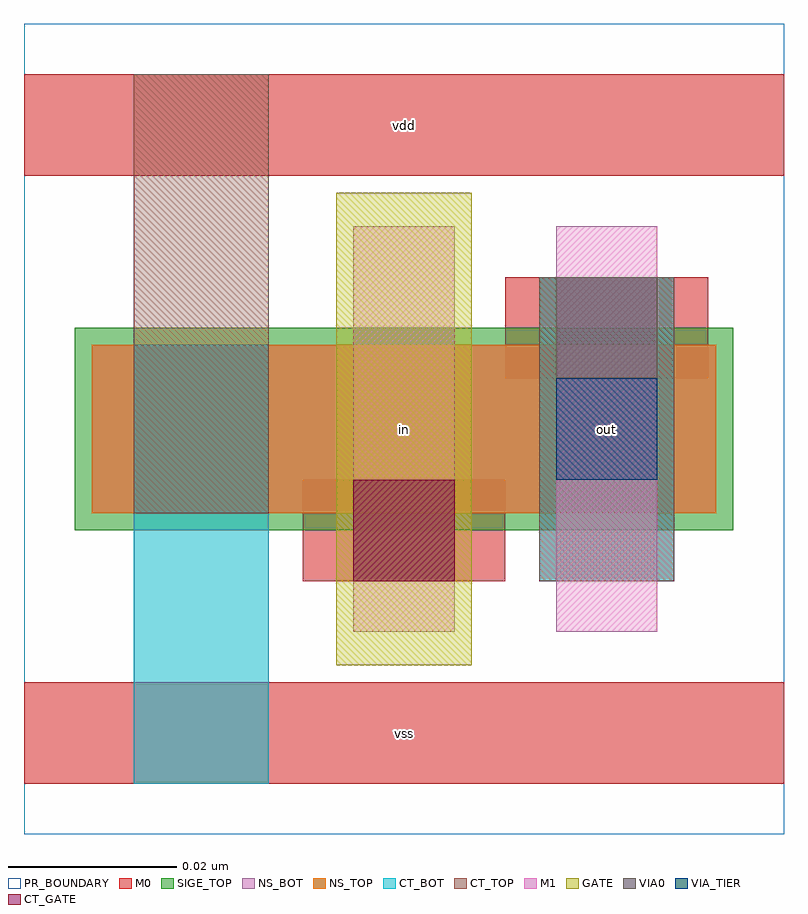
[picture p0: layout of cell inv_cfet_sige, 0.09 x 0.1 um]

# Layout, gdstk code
import gdstk
lib = gdstk.Library(unit=1e-6, precision=1e-09)
def R(c, l, rs):  # rectangles x0, y0, x1, y1
    for r in rs: c.add(gdstk.rectangle(r[:2], r[2:], *l))
PR_BOUNDARY = (1, 0)
NS_BOT = (10, 0)
NS_TOP = (11, 0)
GATE = (20, 0)
CT_GATE = (21, 0)
CT_BOT = (30, 0)
CT_TOP = (31, 0)
VIA_TIER = (35, 0)
M0 = (40, 0)
VIA0 = (41, 0)
M1 = (42, 0)
SIGE_TOP = (50, 0)

inv_cfet_sige = lib.new_cell('inv_cfet_sige')
R(inv_cfet_sige, PR_BOUNDARY, [(0,0,0.09,0.096)])
R(inv_cfet_sige, NS_BOT, [(0.008,0.038,0.082,0.058)])
R(inv_cfet_sige, NS_TOP, [(0.008,0.038,0.082,0.058)])
R(inv_cfet_sige, GATE, [(0.037,0.02,0.053,0.076)])
R(inv_cfet_sige, CT_GATE, [(0.039,0.03,0.051,0.042)])
R(inv_cfet_sige, CT_BOT, [(0.013,0.006,0.029,0.058), (0.061,0.03,0.077,0.066)])
R(inv_cfet_sige, CT_TOP, [(0.061,0.03,0.077,0.066), (0.013,0.038,0.029,0.09)])
R(inv_cfet_sige, VIA_TIER, [(0.063,0.042,0.075,0.054)])
R(inv_cfet_sige, M0, [(0,0.006,0.09,0.018), (0.033,0.03,0.057,0.042), (0.057,0.054,0.081,0.066), (0,0.078,0.09,0.09)])
R(inv_cfet_sige, VIA0, [(0.039,0.03,0.051,0.042), (0.063,0.054,0.075,0.066)])
R(inv_cfet_sige, M1, [(0.039,0.024,0.051,0.072), (0.063,0.024,0.075,0.072)])
R(inv_cfet_sige, SIGE_TOP, [(0.006,0.036,0.084,0.06)])
inv_cfet_sige.add(gdstk.Label('in', (0.045,0.048), layer=42, texttype=1))
inv_cfet_sige.add(gdstk.Label('out', (0.069,0.048), layer=42, texttype=1))
inv_cfet_sige.add(gdstk.Label('vdd', (0.045,0.084), layer=40, texttype=1))
inv_cfet_sige.add(gdstk.Label('vss', (0.045,0.012), layer=40, texttype=1))

lib.write_gds('inv_cfet_sige.gds')
